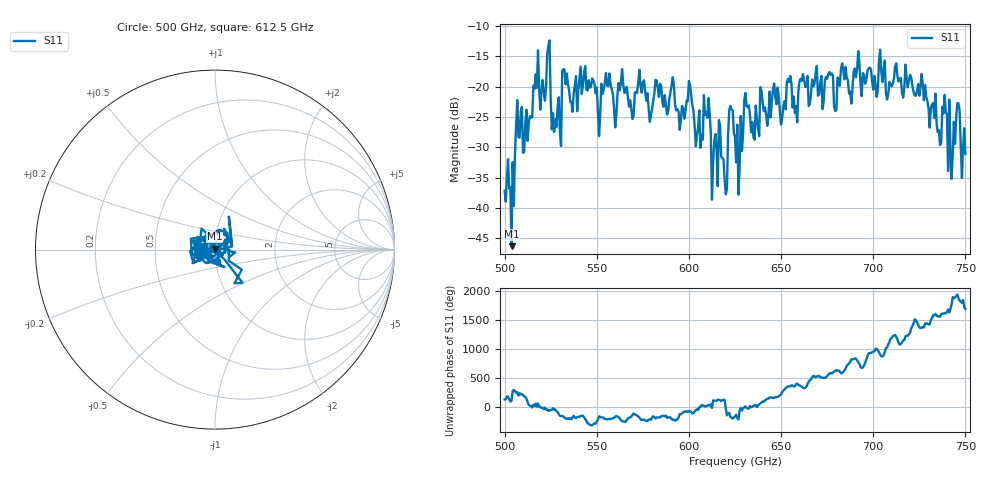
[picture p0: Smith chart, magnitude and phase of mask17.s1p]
!Created with skrf (http://scikit-rf.org).
# GHz S MA R 50.0
!freq magS11 angS11
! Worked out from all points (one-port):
!   401 points, 500 GHz to 750 GHz, reference 50 ohm
!   lowest |S11| = -46.3 dB at 503.8 GHz (marker M1), VSWR 1.01, Z = 49.8 + j0.445 ohm
!   |S11| at or under -10 dB: start of sweep to end of sweep
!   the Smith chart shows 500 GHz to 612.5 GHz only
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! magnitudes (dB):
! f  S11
! 500 GHz  -37.2
! 503.8 GHz  -46.3
! 507.5 GHz  -28.3
! 511.2 GHz  -26.1
! 516.9 GHz  -18.0
! 520.6 GHz  -18.9
! 523.8 GHz  -13.3
! 526.9 GHz  -27.5
! 531.2 GHz  -17.4
! 532.5 GHz  -17.2
! 550.6 GHz  -24.0
! 562.5 GHz  -20.6
! 593.8 GHz  -23.7
! 600.6 GHz  -19.7
! 605 GHz  -26.7
! 609.4 GHz  -24.2
! 619.4 GHz  -35.3
! 622.5 GHz  -23.2
! 625 GHz  -28.3
! 626.2 GHz  -26.3
! 631.2 GHz  -23.2
! 634.4 GHz  -25.9
! 656.2 GHz  -23.4
! 687.5 GHz  -20.8
! 691.2 GHz  -17.1
! 718.8 GHz  -20.1
! 746.2 GHz  -22.7
! 750 GHz  -31.1
